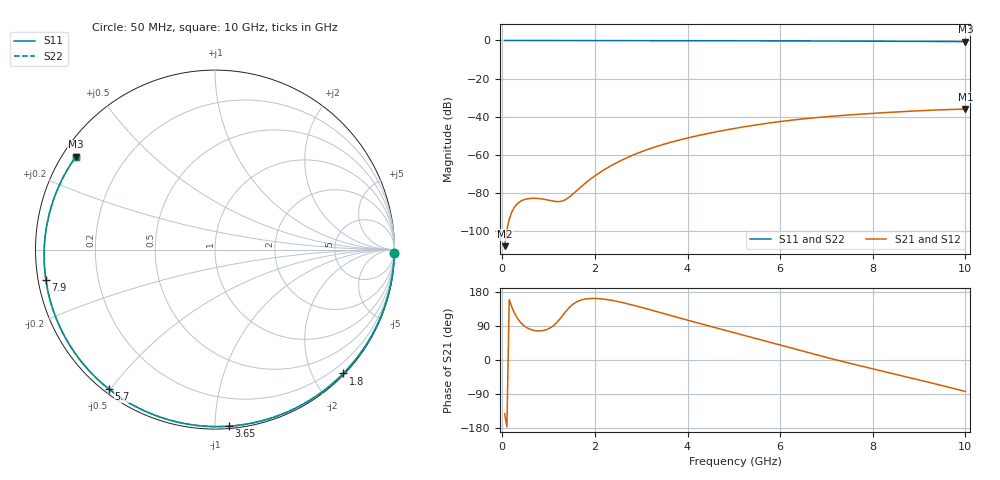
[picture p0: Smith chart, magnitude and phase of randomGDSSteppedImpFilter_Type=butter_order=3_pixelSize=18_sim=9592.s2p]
! freq	dB(S11)	phase(S11)	dB(S12)	phase(S12)
!  dB(S21)	phase(S21)	dB(S22)	phase(S22)
!S-par simulation data
#  GHz  S  DB  R 50
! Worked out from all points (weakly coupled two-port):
!   200 points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, 50 MHz to 10 GHz, reference 50 ohm
!   highest |S21| = -36.06 dB at 10 GHz (marker M1); lowest = -108.1 dB at 50 MHz (marker M2)
!   lowest |S11| = -0.6 dB at 10 GHz (marker M3), VSWR 28.59, Z = 1.91 + j15.1 ohm
!   |S11| at or under -10 dB: nowhere
!   |S22| runs from -0.6 to 0.0 dB; largest |S21 - S12| = 0
!   S11 on the Smith chart (normalised r, x): 50 MHz: 1, -94; 1.8 GHz: 0.02, -2.48; 3.65 GHz: 0.01, -1.08; 5.7 GHz: 0.01, -0.50; 7.9 GHz: 0.02, -0.09; 10 GHz: 0.04, +0.30
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0.05  -0.00 -1.2  -108.06 -142.1  -108.06 -142.1  -0.00 -1.2
0.45  -0.02 -11.2  -83.82 92.5  -83.82 92.5  -0.02 -11.2
0.8  -0.03 -19.8  -83.07 76.7  -83.07 76.7  -0.03 -19.8
1.55  -0.05 -38.0  -80.13 149.1  -80.13 149.1  -0.05 -38.0
1.75  -0.05 -42.8  -75.84 159.8  -75.84 159.8  -0.05 -42.8
1.8  -0.06 -44.0  -74.83 161.0  -74.83 161.0  -0.06 -44.0
2.15  -0.07 -52.2  -68.67 161.2  -68.67 161.2  -0.07 -52.2
2.5  -0.08 -60.2  -63.83 154.1  -63.83 154.1  -0.08 -60.2
2.9  -0.09 -69.2  -59.44 142.3  -59.44 142.3  -0.09 -69.2
3.4  -0.10 -80.2  -55.17 125.5  -55.17 125.5  -0.10 -80.2
3.65  -0.11 -85.6  -53.41 117.0  -53.41 117.0  -0.11 -85.6
4.35  -0.14 -100.3  -49.33 93.5  -49.33 93.5  -0.14 -100.3
5.05  -0.17 -114.4  -46.06 70.6  -46.06 70.6  -0.17 -114.4
5.7  -0.21 -127.2  -43.57 49.2  -43.57 49.2  -0.21 -127.2
6.2  -0.24 -136.9  -42.00 32.6  -42.00 32.6  -0.24 -136.9
6.7  -0.27 -146.6  -40.71 16.3  -40.71 16.3  -0.27 -146.6
7.3  -0.32 -158.2  -39.47 -2.5  -39.47 -2.5  -0.32 -158.2
7.9  -0.38 -169.8  -38.45 -20.5  -38.45 -20.5  -0.38 -169.8
8.35  -0.42 -178.8  -37.78 -33.6  -37.78 -33.6  -0.42 -178.8
8.8  -0.47 172.1  -37.18 -46.7  -37.18 -46.7  -0.47 172.1
9.2  -0.52 163.8  -36.71 -58.5  -36.71 -58.5  -0.52 163.8
10  -0.61 146.3  -36.06 -83.1  -36.06 -83.1  -0.61 146.3
